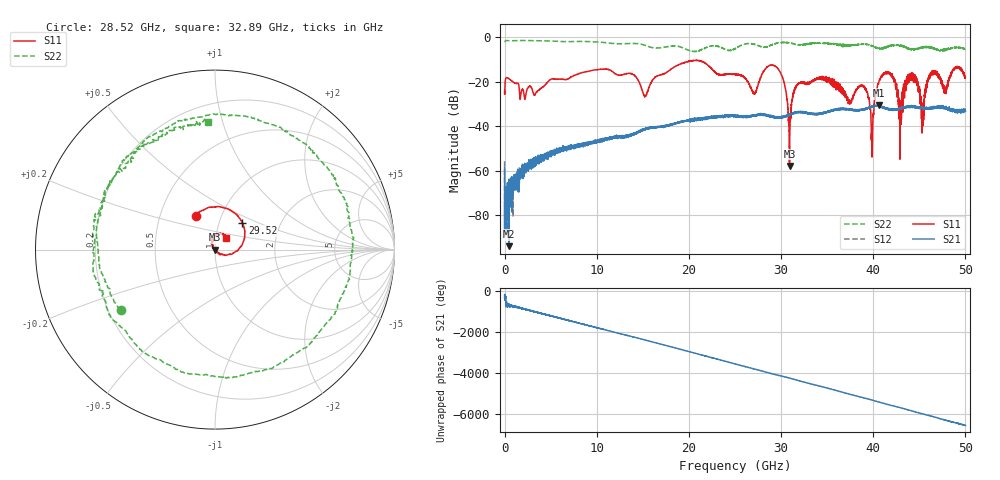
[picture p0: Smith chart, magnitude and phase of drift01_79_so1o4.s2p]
!Created with skrf (http://scikit-rf.org).
# Hz S RI R 50.0
!freq ReS11 ImS11 ReS21 ImS21 ReS12 ImS12 ReS22 ImS22
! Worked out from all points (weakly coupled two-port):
!   10001 points, 300 kHz to 50 GHz, reference 50 ohm
!   highest |S21| = -30.52 dB at 40.58 GHz (marker M1); lowest = -94.0 dB at 470.3 MHz (marker M2)
!   lowest |S11| = -57.8 dB at 30.92 GHz (marker M3), VSWR 1.00, Z = 49.9 - j0.056 ohm
!   |S11| at or under -10 dB: start of sweep to end of sweep
!   |S22| runs from -6.4 to -1.3 dB; largest |S21 - S12| = 0.004
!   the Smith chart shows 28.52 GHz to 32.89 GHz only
!   S11 on the Smith chart (normalised r, x): 28.52 GHz: 0.76, +0.30; 29.52 GHz: 1.29, +0.40; 32.89 GHz: 1.12, +0.15
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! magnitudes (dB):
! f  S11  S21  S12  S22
! 300 kHz  -24.1  -58.5  -55.7  -2.1
! 470.3 MHz  -18.6  -94.0  -85.9  -1.4
! 8.335 GHz  -15.9  -48.3  -48.3  -1.8
! 15.23 GHz  -26.6  -41.0  -41.4  -3.5
! 16.67 GHz  -17.1  -40.4  -40.3  -4.8
! 25 GHz  -16.5  -35.3  -35.5  -5.0
! 27.1 GHz  -25.1  -35.3  -35.1  -3.0
! 28.52 GHz  -13.3  -35.1  -34.9  -4.1
! 29.52 GHz  -13.4  -35.7  -36.0  -2.6
! 30.92 GHz  -57.8  -34.9  -34.8  -2.5
! 31.64 GHz  -22.4  -33.6  -33.7  -3.1
! 32.89 GHz  -20.9  -34.4  -34.2  -3.0
! 33.34 GHz  -19.9  -34.4  -34.1  -2.7
! 38.92 GHz  -21.9  -32.4  -32.4  -3.1
! 39.86 GHz  -48.2  -31.2  -31.2  -3.7
! 40.58 GHz  -20.8  -30.5  -30.7  -5.2
! 41.67 GHz  -15.6  -32.3  -32.3  -3.8
! 42.97 GHz  -31.6  -32.0  -32.1  -3.4
! 43.96 GHz  -17.1  -31.3  -30.9  -5.1
! 45.31 GHz  -36.4  -31.8  -31.8  -4.3
! 46.42 GHz  -15.3  -31.4  -31.5  -4.8
! 50 GHz  -18.0  -33.2  -33.0  -5.2
